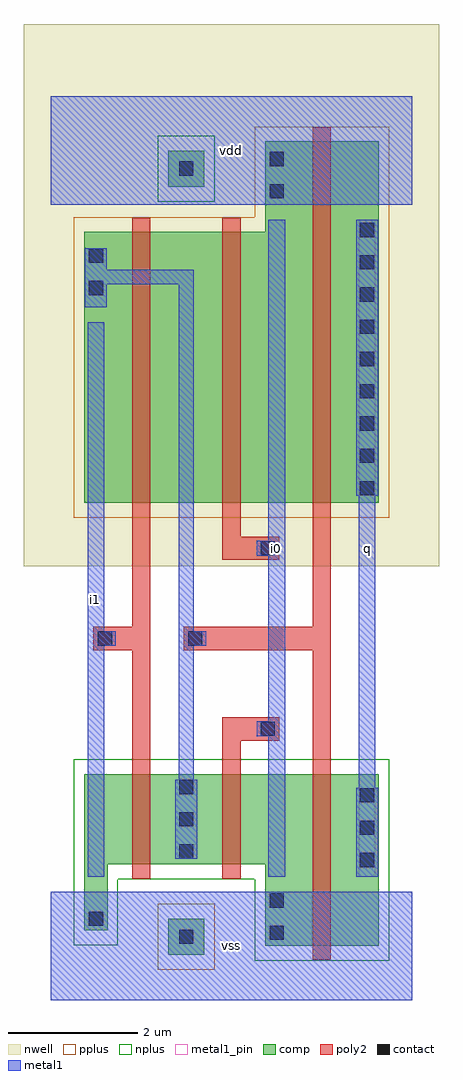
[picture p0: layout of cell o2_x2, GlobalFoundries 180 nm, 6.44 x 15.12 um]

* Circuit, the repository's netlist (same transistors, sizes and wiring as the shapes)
* o2_x2
.subckt o2_x2 vdd q vss i0 i1
Mp_net1_1 vdd _net1 q vdd pfet_03v3 l=0.28um w=5.6um
Mn_net1_1 vss _net1 q vss nfet_03v3 l=0.28um w=2.66um
Mp_i0_1 _net0 i0 vdd vdd pfet_03v3 l=0.28um w=4.2um
Mn_i0_1 _net1 i0 vss vss nfet_03v3 l=0.28um w=1.4um
Mp_i1_1 _net1 i1 _net0 vdd pfet_03v3 l=0.28um w=4.2um
Mn_i1_1 vss i1 _net1 vss nfet_03v3 l=0.28um w=1.4um
.ends o2_x2

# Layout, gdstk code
import gdstk
lib = gdstk.Library(unit=1e-6, precision=1e-09)
def R(c, l, rs):  # rectangles x0, y0, x1, y1
    for r in rs: c.add(gdstk.rectangle(r[:2], r[2:], *l))
def A(c, l, x, y, w, h, nx, ny, dx, dy):  # array of equal rectangles
    R(c, l, [(x+i*dx, y+j*dy, x+i*dx+w, y+j*dy+h) for i in range(nx) for j in range(ny)])
def P(c, l, *ps):  # polygons
    for p in ps: c.add(gdstk.Polygon(p, *l))
nwell = (21, 0)
comp = (22, 0)
poly2 = (30, 0)
pplus = (31, 0)
nplus = (32, 0)
contact = (33, 0)
metal1 = (34, 0)
metal1_pin = (34, 10)

o2_x2 = lib.new_cell('o2_x2')
R(o2_x2, nwell, [(-0.42,6.72,6.02,15.12)])
R(o2_x2, comp, [(1.82,0.7,2.38,1.26), (1.82,12.6,2.38,13.16)])
P(o2_x2, comp, [(0.52,7.7),(0.52,11.9),(3.32,11.9),(3.32,13.3),(5.08,13.3),(5.08,7.7)],
  [(3.32,0.84),(3.32,2.1),(0.88,2.1),(0.88,1.08),(0.52,1.08),(0.52,3.5),(5.08,3.5),(5.08,0.84)])
P(o2_x2, poly2, [(4.06,0.62),(4.06,5.42),(2.06,5.42),(2.06,5.78),(4.06,5.78),(4.06,13.52),(4.34,13.52),(4.34,0.62)],
  [(2.66,6.82),(2.66,12.12),(2.94,12.12),(2.94,7.18),(3.54,7.18),(3.54,6.82)],
  [(2.66,1.88),(2.66,4.38),(3.54,4.38),(3.54,4.02),(2.94,4.02),(2.94,1.88)],
  [(1.26,1.88),(1.26,5.42),(0.66,5.42),(0.66,5.78),(1.26,5.78),(1.26,12.12),(1.54,12.12),(1.54,1.88)])
R(o2_x2, pplus, [(1.66,0.47,2.54,1.49)])
P(o2_x2, pplus, [(0.36,7.47),(0.36,12.13),(3.16,12.13),(3.16,13.53),(5.24,13.53),(5.24,7.47)])
R(o2_x2, nplus, [(1.66,12.37,2.54,13.39)])
P(o2_x2, nplus, [(3.16,0.61),(3.16,1.87),(1.04,1.87),(1.04,0.85),(0.36,0.85),(0.36,3.73),(5.24,3.73),(5.24,0.61)])
A(o2_x2, contact, 4.79, 2.06, 0.22, 0.22, 1, 3, 0, 0.5)
A(o2_x2, contact, 1.99, 2.19, 0.22, 0.22, 1, 3, 0, 0.5)
A(o2_x2, contact, 4.79, 7.82, 0.22, 0.22, 1, 9, 0, 0.5)
R(o2_x2, contact, [(1.99,0.87,2.21,1.09), (3.39,0.93,3.61,1.15), (0.59,1.15,0.81,1.37), (3.39,1.43,3.61,1.65), (3.25,4.09,3.47,4.31), (0.73,5.49,0.95,5.71), (2.13,5.49,2.35,5.71), (3.25,6.89,3.47,7.11), (0.59,10.92,0.81,11.14), (0.59,11.42,0.81,11.64), (3.39,12.42,3.61,12.64), (1.99,12.77,2.21,12.99), (3.39,12.92,3.61,13.14)])
R(o2_x2, metal1, [(0,0,5.6,1.68), (0,12.32,5.6,14)])
P(o2_x2, metal1, [(4.73,1.91),(4.73,3.285),(4.77,3.285),(4.77,7.815),(4.73,7.815),(4.73,12.09),(5.07,12.09),(5.07,7.815),(5.03,7.815),(5.03,3.285),(5.07,3.285),(5.07,1.91)],
  [(1.93,2.185),(1.93,3.415),(1.985,3.415),(1.985,11.085),(0.87,11.085),(0.87,10.73),(0.53,10.73),(0.53,11.645),(0.87,11.645),(0.87,11.315),(2.215,11.315),(2.215,5.715),(2.41,5.715),(2.41,5.485),(2.215,5.485),(2.215,3.415),(2.27,3.415),(2.27,2.185)],
  [(3.37,1.91),(3.37,4.085),(3.19,4.085),(3.19,4.315),(3.37,4.315),(3.37,6.885),(3.19,6.885),(3.19,7.115),(3.37,7.115),(3.37,12.09),(3.63,12.09),(3.63,1.91)],
  [(0.57,1.91),(0.57,10.5),(0.83,10.5),(0.83,5.715),(1.01,5.715),(1.01,5.485),(0.83,5.485),(0.83,1.91)])
R(o2_x2, metal1_pin, [(0,0,5.6,1.68), (0.57,1.91,0.83,10.5), (3.37,1.91,3.63,12.09), (4.77,1.91,5.03,12.09), (0,12.32,5.6,14)])
o2_x2.add(gdstk.Label('vdd', (2.8,13.16), layer=34, texttype=10))
o2_x2.add(gdstk.Label('q', (4.9,7), layer=34, texttype=10))
o2_x2.add(gdstk.Label('vss', (2.8,0.84), layer=34, texttype=10))
o2_x2.add(gdstk.Label('i0', (3.5,7), layer=34, texttype=10))
o2_x2.add(gdstk.Label('i1', (0.7,6.205), layer=34, texttype=10))

lib.write_gds('o2_x2.gds')
